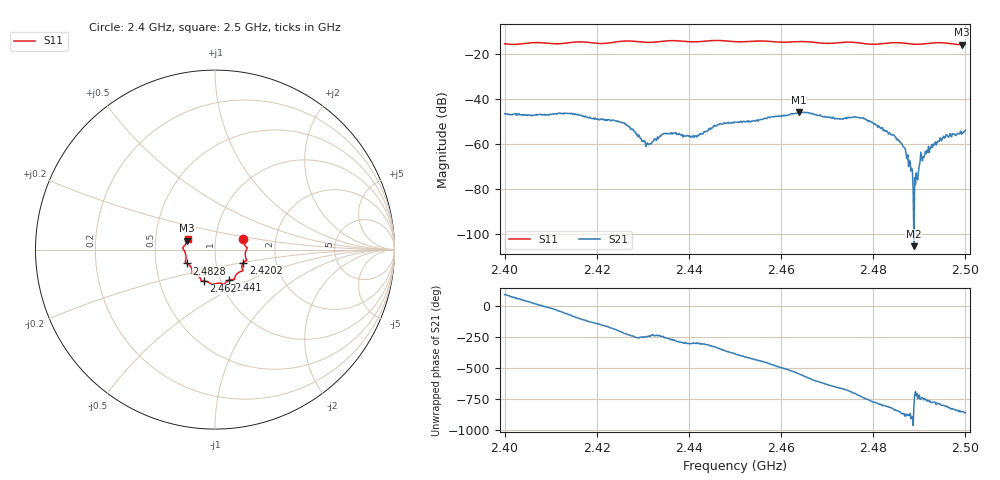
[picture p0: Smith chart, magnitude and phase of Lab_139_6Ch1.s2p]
# Hz S RI R 50
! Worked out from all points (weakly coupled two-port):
!   601 points, 2.4 GHz to 2.5 GHz, reference 50 ohm
!   highest |S21| = -45.86 dB at 2.4638 GHz (marker M1); lowest = -105.5 dB at 2.4888 GHz (marker M2)
!   lowest |S11| = -15.8 dB at 2.4992 GHz (marker M3), VSWR 1.39, Z = 36.4 + j3.7 ohm
!   |S11| at or under -10 dB: start of sweep to end of sweep
!   S12 and S22 are empty: the file has one direction only
!   S11 on the Smith chart (normalised r, x): 2.4 GHz: 1.36, +0.17; 2.4202 GHz: 1.36, -0.20; 2.441 GHz: 1.10, -0.39; 2.462 GHz: 0.84, -0.30; 2.4828 GHz: 0.72, -0.11; 2.5 GHz: 0.73, +0.09
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2.4e9  0.1582 0.0618  -0.000422 0.0047  0 0  0 0
2.416667e9  0.177 -0.0604  -0.000995 -0.00422  0 0  0 0
2.420167e9  0.1579 -0.072  -0.00275 -0.00229  0 0  0 0
2.426e9  0.1559 -0.1173  -0.00219 0.0018  0 0  0 0
2.431167e9  0.1249 -0.1324  -0.000461 0.000841  0 0  0 0
2.433333e9  0.1116 -0.1511  -0.000743 0.00108  0 0  0 0
2.436667e9  0.1082 -0.1671  3.54e-05 0.00172  0 0  0 0
2.441e9  0.0781 -0.1703  0.000617 0.00141  0 0  0 0
2.45e9  0.0277 -0.1874  0.00286 -0.0011  0 0  0 0
2.462e9  -0.0608 -0.1756  -0.00431 -0.00163  0 0  0 0
2.463833e9  -0.0729 -0.1755  -0.00508 0.000407  0 0  0 0
2.466667e9  -0.0787 -0.1677  -0.00291 0.00365  0 0  0 0
2.477667e9  -0.1272 -0.118  0.00364 -0.000929  0 0  0 0
2.482833e9  -0.1571 -0.0768  8.49e-05 -0.0019  0 0  0 0
2.483333e9  -0.1601 -0.0754  -0.000119 -0.00165  0 0  0 0
2.4865e9  -0.1643 -0.0632  -0.000709 -0.000516  0 0  0 0
2.488833e9  -0.1616 -0.0385  1.07e-06 -5.19e-06  0 0  0 0
2.489167e9  -0.162 -0.0342  0.000106 6.57e-05  0 0  0 0
2.490833e9  -0.1676 -0.0132  0.000473 -0.00021  0 0  0 0
2.493e9  -0.1779 0.00473  0.000564 -0.000811  0 0  0 0
2.499167e9  -0.155 0.0494  -0.00106 -0.00125  0 0  0 0
2.5e9  -0.1525 0.0612  -0.00155 -0.00131  0 0  0 0
